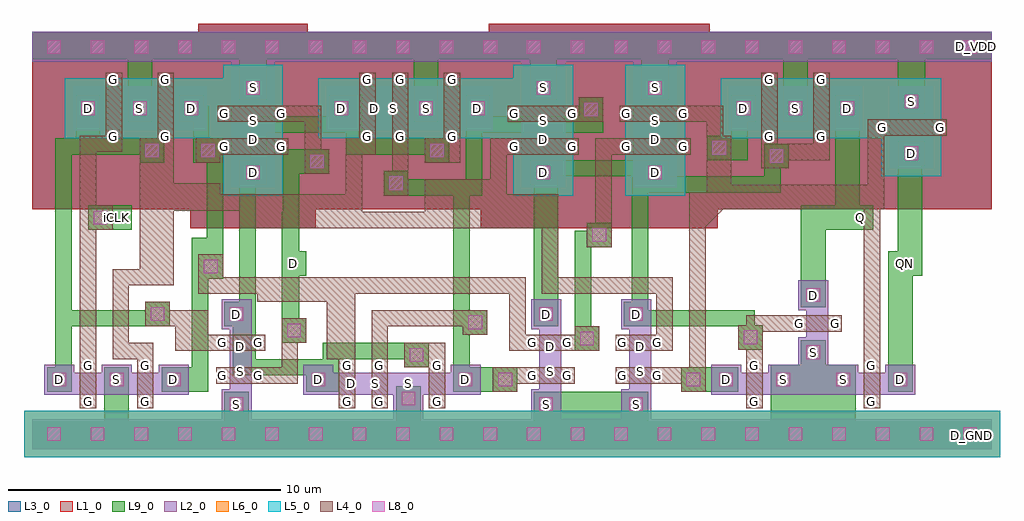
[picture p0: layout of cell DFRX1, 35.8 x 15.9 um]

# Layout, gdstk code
import gdstk
lib = gdstk.Library(unit=1e-6, precision=1e-09)
def R(c, l, rs):  # rectangles x0, y0, x1, y1
    for r in rs: c.add(gdstk.rectangle(r[:2], r[2:], *l))
def A(c, l, x, y, w, h, nx, ny, dx, dy):  # array of equal rectangles
    R(c, l, [(x+i*dx, y+j*dy, x+i*dx+w, y+j*dy+h) for i in range(nx) for j in range(ny)])
def P(c, l, *ps):  # polygons
    for p in ps: c.add(gdstk.Polygon(p, *l))
L1_0 = (1, 0)
L2_0 = (2, 0)
L3_0 = (3, 0)
L4_0 = (4, 0)
L5_0 = (5, 0)
L6_0 = (6, 0)
L8_0 = (8, 0)
L9_0 = (9, 0)

dfrx1 = lib.new_cell('DFRX1')
A(dfrx1, L1_0, 0, 8.8, 1.6, 6.5, 22, 1, 1.6, 0)
R(dfrx1, L1_0, [(5.8,8.1,10.4,14.1), (16.45,8.1,21.05,14.1), (20.55,8.1,25.15,14.1), (29.95,8.8,34.55,14.8), (5.8,9.3,10.4,15.3), (16.45,9.3,21.05,15.3), (20.55,9.3,25.15,15.3), (0,10.2,6,14.8), (1.9,10.2,7.9,14.8), (9.3,10.2,15.3,14.8), (10.5,10.2,16.5,14.8), (12.4,10.2,18.4,14.8), (24.05,10.2,30.05,14.8), (25.95,10.2,31.95,14.8), (6.1,15.3,10.1,15.6), (16.75,15.3,20.75,15.6), (20.75,15.3,24.85,15.6)])
A(dfrx1, L2_0, 0, 0, 1.6, 1.1, 22, 2, 1.6, 14.2)
R(dfrx1, L2_0, [(6.95,1.1,8.05,2.2), (13.25,1.1,14.35,2.8), (18.3,1.1,19.4,2.2), (21.6,1.1,22.7,2.2), (13.25,1.3,14.35,2.4), (0.45,2,1.55,3.1), (1.55,2,2.55,2.8), (2.55,2,3.65,3.1), (2.55,2,3.65,3.1), (3.65,2,4.65,2.8), (4.65,2,5.75,3.1), (9.95,2,11.05,3.1), (11.05,2,12.05,2.8), (11.15,2,12.25,2.8), (12.05,2,13.15,2.8), (12.25,2,13.25,2.8), (13.25,2,14.35,2.8), (13.25,2,14.35,2.8), (14.35,2,15.35,2.8), (15.35,2,16.45,3.1), (24.9,2,26,3.1), (26,2,27,2.8), (27,2,28.1,3.1), (28.05,2,29.2,3), (29.2,2,30.3,3.1), (30.3,2,31.3,2.8), (31.3,2,32.4,3.1), (7.25,2.2,8.05,3.2), (18.6,2.2,19.4,3.2), (21.9,2.2,22.7,3.2), (7.25,2.3,8.05,3.4), (18.6,2.3,19.4,3.4), (21.9,2.3,22.7,3.4), (28.1,3,29.2,4.1), (7.25,3.2,8.05,4.3), (18.6,3.2,19.4,4.3), (21.9,3.2,22.7,4.3), (7.25,3.4,8.05,4.4), (18.6,3.4,19.4,4.4), (21.9,3.4,22.7,4.4), (28.4,4.1,29.2,5.1), (6.95,4.4,8.05,5.5), (18.3,4.4,19.4,5.5), (21.6,4.4,22.7,5.5), (28.1,5.1,29.2,6.2), (7.3,9.6,8.9,10.7), (17.95,9.6,19.55,10.7), (22.05,9.6,23.65,10.7), (31.45,10.3,33.05,11.4), (7.3,10.7,8.9,11.5), (17.95,10.7,19.55,11.5), (22.05,10.7,23.65,11.5), (7.3,10.8,8.9,11.9), (17.95,10.8,19.55,11.9), (22.05,10.8,23.65,11.9), (31.45,11.4,33.05,12.2), (7.3,11.5,8.9,12.6), (17.95,11.5,19.55,12.6), (22.05,11.5,23.65,12.6), (1.5,11.7,2.6,13.3), (2.6,11.7,3.4,13.3), (3.4,11.7,4.5,13.3), (3.4,11.7,4.5,13.3), (4.5,11.7,5.3,13.3), (5.3,11.7,6.4,13.3), (10.8,11.7,11.9,13.3), (11.9,11.7,12.7,13.3), (12,11.7,13.1,13.3), (12.7,11.7,13.8,13.3), (13.1,11.7,13.9,13.3), (13.9,11.7,15,13.3), (13.9,11.7,15,13.3), (15,11.7,15.8,13.3), (15.8,11.7,16.9,13.3), (25.55,11.7,26.65,13.3), (26.65,11.7,27.45,13.3), (27.45,11.7,28.55,13.3), (27.45,11.7,28.55,13.3), (28.55,11.7,29.35,13.3), (29.35,11.7,30.45,13.3), (7.3,11.9,8.9,12.7), (17.95,11.9,19.55,12.7), (22.05,11.9,23.65,12.7), (31.45,12.2,33.05,13.3), (7.3,12.7,8.9,13.8), (17.95,12.7,19.55,13.8), (22.05,12.7,23.65,13.8), (7.3,13.8,8.9,14.2), (17.95,13.8,19.55,14.2), (22.05,13.8,23.65,14.2)])
A(dfrx1, L3_0, 0, 8.8, 1.6, 6.5, 22, 1, 1.6, 0)
R(dfrx1, L3_0, [(5.8,8.1,10.4,14.1), (16.45,8.1,21.05,14.1), (20.55,8.1,25.15,14.1), (29.95,8.8,34.55,14.8), (5.8,9.3,10.4,15.3), (16.45,9.3,21.05,15.3), (20.55,9.3,25.15,15.3), (0,10.2,6,14.8), (1.9,10.2,7.9,14.8), (9.3,10.2,15.3,14.8), (10.5,10.2,16.5,14.8), (12.4,10.2,18.4,14.8), (24.05,10.2,30.05,14.8), (25.95,10.2,31.95,14.8), (6.1,15.3,10.1,15.6), (16.75,15.3,20.75,15.6), (20.75,15.3,24.85,15.6)])
R(dfrx1, L4_0, [(1.75,1.5,2.35,2), (1.75,1.5,2.35,3.3), (3.85,1.5,4.45,2), (3.85,1.5,4.45,3.3), (11.25,1.5,11.85,2), (11.25,1.5,11.85,3.3), (12.45,1.5,13.05,2), (12.45,1.5,13.05,3.3), (14.55,1.5,15.15,2), (14.55,1.5,15.15,3.3), (26.2,1.5,26.8,2), (26.2,1.5,26.8,3.3), (30.5,1.5,31.1,2), (30.5,1.5,31.1,3.3), (16.9,2.1,17.8,3), (23.8,2.1,24.7,3), (6.75,2.4,7.25,3), (6.75,2.4,8.55,3), (8.05,2.4,8.55,3), (17.65,2.4,18.35,3), (18.1,2.4,18.6,3), (18.1,2.4,19.9,3), (19.4,2.4,19.9,3), (21.4,2.4,21.9,3), (21.4,2.4,23.2,3), (22.7,2.4,23.2,3), (14.55,2.7,15.15,3.9), (1.75,2.8,2.35,3.3), (3.85,2.8,4.45,3.3), (11.25,2.8,11.85,3.3), (12.45,2.8,13.05,3.3), (14.55,2.8,15.15,3.3), (26.2,2.8,26.8,3.3), (30.5,2.8,31.1,3.3), (13.65,3,14.55,3.9), (30.5,3.3,31.1,9.1), (6.75,3.6,7.25,4.2), (6.75,3.6,8.55,4.2), (8.05,3.6,8.55,4.2), (18.1,3.6,18.6,4.2), (18.1,3.6,19.9,4.2), (19.4,3.6,19.9,4.2), (19.9,3.6,20.8,4.5), (21.4,3.6,21.9,4.2), (21.4,3.6,23.2,4.2), (22.7,3.6,23.2,4.2), (25.9,3.65,26.8,4.55), (9.15,3.9,10.05,4.8), (11.4,3.9,11.85,5.7), (5.85,4.2,6.45,5.1), (15.8,4.2,16.7,5.1), (27.9,4.3,28.4,4.9), (27.9,4.3,29.7,4.9), (29.2,4.3,29.7,4.9), (4.15,4.5,5.05,5.4), (8.85,6,10.8,6.3), (10.8,6,11,6.3), (6.1,6.25,7,7.15), (3.95,6.6,4.6,10.5), (20.35,7.4,21.25,8.3), (2.05,8.05,2.95,8.95), (7.6,8.1,11.5,8.75), (15,8.1,18.7,8.75), (5.2,8.75,5.4,9.75), (15,8.75,15.2,9.3), (25.35,8.8,31.25,9.1), (12.9,9.3,13.8,10.2), (5.4,9.35,6.9,9.75), (25.35,9.7,25.65,10.6), (10,10.1,10.9,11), (30.65,10.15,31.25,12.1), (13.2,10.2,13.8,11.2), (26.75,10.3,26.85,11.2), (26.85,10.3,27.75,11.2), (3.95,10.5,4.85,11.4), (6,10.5,6.9,11.4), (14.4,10.5,15.3,11.4), (15.3,10.5,15.7,11.2), (24.75,10.6,25.65,11.5), (27.75,10.6,29.25,11.2), (6.8,10.8,9.4,11.4), (6.8,10.8,7.3,11.4), (8.9,10.8,9.4,11.4), (17.35,10.8,17.45,11.4), (17.45,10.8,20.05,11.4), (17.45,10.8,17.95,11.4), (19.55,10.8,20.05,11.4), (21.55,10.8,24.15,11.4), (21.55,10.8,22.05,11.4), (23.65,10.8,24.15,11.4), (2.7,11.2,3.3,13.8), (2.7,11.2,3.3,11.7), (4.6,11.2,5.2,13.8), (4.6,11.2,5.2,11.7), (12,11.2,12.6,13.8), (12,11.2,12.6,11.7), (13.2,11.2,13.8,13.8), (13.2,11.2,13.8,11.7), (15.1,11.2,15.7,13.8), (15.1,11.2,15.7,11.7), (26.75,11.2,27.35,13.8), (26.75,11.2,27.35,11.7), (28.65,11.2,29.25,13.8), (28.65,11.2,29.25,11.7), (30.95,11.5,33.55,12.1), (30.95,11.5,31.45,12.1), (33.05,11.5,33.55,12.1), (6.8,12,9.4,12.6), (6.8,12,7.3,12.6), (8.9,12,9.4,12.6), (17.45,12,20.05,12.6), (17.45,12,17.95,12.6), (19.55,12,20.05,12.6), (20.05,12,20.95,12.9), (21.55,12,24.15,12.6), (21.55,12,22.05,12.6), (23.65,12,24.15,12.6), (2.7,13.3,3.3,13.8), (4.6,13.3,5.2,13.8), (12,13.3,12.6,13.8), (13.2,13.3,13.8,13.8), (15.1,13.3,15.7,13.8), (26.75,13.3,27.35,13.8), (28.65,13.3,29.25,13.8)])
P(dfrx1, L4_0, [(11.5,8.1),(15,8.1),(15,9.3),(17.4,9.3),(17.4,11.4),(16.8,11.4),(16.8,9.9),(14.4,9.9),(14.4,8.7),(12.1,8.7),(12.1,8.75),(11.5,8.75)],
  [(25.35,9.1),(31.25,9.1),(31.25,10.15),(30.65,10.15),(30.65,9.7),(25.35,9.7)],
  [(2.95,3.3),(4.45,3.3),(4.45,3.9),(3.55,3.9),(3.55,6),(5.2,6),(5.2,11.3),(4.6,11.3),(4.6,6.6),(2.95,6.6)],
  [(4.35,4.5),(5.25,4.5),(5.25,3.6),(6.75,3.6),(6.75,4.2),(5.85,4.2),(5.85,5.1),(4.35,5.1)],
  [(10.8,3.3),(11.85,3.3),(11.85,3.9),(11.4,3.9),(11.4,5.4),(10.8,5.4)],
  [(20.65,5.7),(22.9,5.7),(22.9,3.6),(23.5,3.6),(23.5,6.3),(20.65,6.3)],
  [(26.2,3.3),(26.8,3.3),(26.8,4.3),(27.9,4.3),(27.9,4.9),(26.2,4.9)],
  [(6.1,5.7),(8.25,5.7),(8.25,5.4),(11.4,5.4),(11.4,6),(8.85,6),(8.85,6.3),(6.1,6.3)],
  [(12.45,2.7),(13.05,2.7),(13.05,4.5),(16.35,4.5),(16.35,5.1),(12.45,5.1)],
  [(5.4,8.75),(12.1,8.75),(12.1,10.8),(12.6,10.8),(12.6,11.4),(11.5,11.4),(11.5,9.35),(5.4,9.35)],
  [(20.65,8.3),(21.25,8.3),(21.25,10.8),(21.55,10.8),(21.55,11.4),(20.65,11.4)],
  [(15.2,8.75),(18.7,8.75),(18.7,5.7),(20.65,5.7),(20.65,6.3),(19.3,6.3),(19.3,9.35),(15.2,9.35)],
  [(9.4,12),(10,12),(10,10.4),(10.6,10.4),(10.6,12.6),(9.4,12.6)],
  [(1.75,3.3),(2.35,3.3),(2.35,10.9),(3.3,10.9),(3.3,11.5),(1.75,11.5)],
  [(11,5.7),(17.5,5.7),(17.5,3.6),(18.1,3.6),(18.1,6.3),(11,6.3)],
  [(23.2,2.4),(24.7,2.4),(24.7,8.8),(25.35,8.8),(25.35,12.6),(24.15,12.6),(24.15,12),(24.75,12),(24.75,9.4),(24.1,9.4),(24.1,3),(23.2,3)],
  [(8.55,2.4),(9.75,2.4),(9.75,4.5),(9.15,4.5),(9.15,3),(8.55,3)],
  [(24.7,8.8),(24.7,8.15),(25.35,8.8)])
A(dfrx1, L5_0, 1.6, -0.3, 1.6, 1.7, 20, 1, 1.6, 0)
R(dfrx1, L5_0, [(-0.3,-0.3,1.6,1.4), (33.6,-0.3,35.5,1.4), (7,9.3,9.2,12.9), (17.65,9.3,19.85,12.9), (21.75,9.3,23.95,12.9), (31.15,10,33.35,13.6), (7,10.5,9.2,14.1), (17.65,10.5,19.85,14.1), (21.75,10.5,23.95,14.1), (1.2,11.4,4.8,13.6), (3.1,11.4,6.7,13.6), (6.7,11.4,7,13.6), (10.5,11.4,14.1,13.6), (11.7,11.4,15.3,13.6), (13.6,11.4,17.2,13.6), (17.2,11.4,17.65,13.6), (25.25,11.4,28.85,13.6), (27.15,11.4,30.75,13.6), (30.75,11.4,31.2,13.6)])
A(dfrx1, L6_0, 1.6, -0.3, 1.6, 1.7, 20, 1, 1.6, 0)
R(dfrx1, L6_0, [(-0.3,-0.3,1.6,1.4), (33.6,-0.3,35.5,1.4), (7,9.3,9.2,12.9), (17.65,9.3,19.85,12.9), (21.75,9.3,23.95,12.9), (31.15,10,33.35,13.6), (7,10.5,9.2,14.1), (17.65,10.5,19.85,14.1), (21.75,10.5,23.95,14.1), (1.2,11.4,4.8,13.6), (3.1,11.4,6.7,13.6), (6.7,11.4,7,13.6), (10.5,11.4,14.1,13.6), (11.7,11.4,15.3,13.6), (13.6,11.4,17.2,13.6), (17.2,11.4,17.65,13.6), (25.25,11.4,28.85,13.6), (27.15,11.4,30.75,13.6), (30.75,11.4,31.2,13.6)])
A(dfrx1, L8_0, 0.55, 0.3, 0.5, 0.5, 22, 2, 1.6, 14.2)
R(dfrx1, L8_0, [(7.25,1.4,7.75,1.9), (18.6,1.4,19.1,1.9), (21.9,1.4,22.4,1.9), (13.55,1.6,14.05,2.1), (0.75,2.3,1.25,2.8), (2.85,2.3,3.35,2.8), (2.85,2.3,3.35,2.8), (4.95,2.3,5.45,2.8), (10.25,2.3,10.75,2.8), (15.65,2.3,16.15,2.8), (17.1,2.3,17.6,2.8), (24,2.3,24.5,2.8), (25.2,2.3,25.7,2.8), (27.3,2.3,27.8,2.8), (29.5,2.3,30,2.8), (31.6,2.3,32.1,2.8), (13.85,3.2,14.35,3.7), (28.4,3.3,28.9,3.8), (20.1,3.8,20.6,4.3), (26.1,3.85,26.6,4.35), (9.35,4.1,9.85,4.6), (16,4.4,16.5,4.9), (4.35,4.7,4.85,5.2), (7.25,4.7,7.75,5.2), (18.6,4.7,19.1,5.2), (21.9,4.7,22.4,5.2), (28.4,5.4,28.9,5.9), (6.3,6.45,6.8,6.95), (20.55,7.6,21.05,8.1), (2.25,8.25,2.75,8.75), (13.1,9.5,13.6,10), (7.85,9.9,8.35,10.4), (18.5,9.9,19,10.4), (22.6,9.9,23.1,10.4), (10.2,10.3,10.7,10.8), (27.05,10.5,27.55,11), (32,10.6,32.5,11.1), (4.15,10.7,4.65,11.2), (6.2,10.7,6.7,11.2), (14.6,10.7,15.1,11.2), (24.95,10.8,25.45,11.3), (20.25,12.2,20.75,12.7), (1.8,12.25,2.3,12.75), (3.7,12.25,4.2,12.75), (3.7,12.25,4.2,12.75), (5.6,12.25,6.1,12.75), (11.1,12.25,11.6,12.75), (14.2,12.25,14.7,12.75), (14.2,12.25,14.7,12.75), (16.1,12.25,16.6,12.75), (25.85,12.25,26.35,12.75), (27.75,12.25,28.25,12.75), (27.75,12.25,28.25,12.75), (29.65,12.25,30.15,12.75), (32,12.5,32.5,13), (7.85,13,8.35,13.5), (18.5,13,19,13.5), (22.6,13,23.1,13.5)])
A(dfrx1, L9_0, 0, 0, 1.6, 1, 22, 2, 1.6, 14.3)
R(dfrx1, L9_0, [(34,0.05,34.9,0.95), (2.65,0.95,3.55,2.1), (21.7,0.95,22.6,1.2), (7.05,1,7.95,1.2), (13.35,1,14.25,1.4), (18.4,1,19.3,1.2), (19.3,1,21.7,2.1), (27.1,1,30.2,3.1), (7.05,1.2,7.95,2.1), (18.4,1.2,19.3,2.1), (21.7,1.2,22.6,2.1), (13.35,1.4,14.25,2.3), (0.55,2.1,1.45,3), (2.65,2.1,3.55,3), (2.65,2.1,3.55,3), (4.75,2.1,5.65,3), (10.05,2.1,10.95,3), (15.45,2.1,16.35,3), (15.95,2.1,17.75,2.7), (16.9,2.1,17.8,3), (23.8,2.1,24.7,3), (24.7,2.1,25,3), (25,2.1,25.9,3), (27.1,2.1,28,3), (29.3,2.1,30.2,3), (31.4,2.1,32.3,3), (15.45,2.4,16.05,9.9), (5.65,2.65,5.85,3), (15.8,2.7,16.95,3), (13.65,3,14.55,3.9), (28.2,3.1,29.1,4), (7.95,3.3,8.2,4.8), (11.5,3.3,14.25,3.9), (19.9,3.6,20.8,4.5), (25.9,3.65,26.8,4.55), (9.15,3.9,10.05,4.8), (15.8,4.2,16.7,5.1), (0.85,4.5,4.75,5.1), (4.15,4.5,5.05,5.4), (7.05,4.5,7.95,5.4), (18.4,4.5,19.3,5.4), (21.7,4.5,22.6,5.4), (9.75,4.8,9.8,8.1), (28.2,5.2,29.1,6.1), (18.4,5.4,19.3,10.05), (6.1,6.25,7,7.15), (9.15,6.35,10.05,7.25), (31.55,6.35,32.45,7.25), (31.75,6.35,32.65,11.3), (20.35,7.4,21.25,8.3), (2.05,8.05,2.95,8.95), (2.75,8.05,3.65,8.95), (29.45,8.05,30.35,12.9), (29.45,8.05,30.85,8.95), (29.95,8.05,30.85,8.95), (12.9,9.3,13.8,10.2), (22.6,9.4,22.75,9.7), (7.6,9.7,8.6,10.6), (18.25,9.7,19.25,10.6), (22.35,9.7,23.35,10.6), (18.65,10,22.95,10.6), (10,10.1,10.9,11), (26.85,10.3,27.75,11.2), (31.75,10.4,32.75,11.3), (3.95,10.5,4.85,11.4), (5.9,10.5,7,11.4), (6,10.5,6.9,11.4), (14.4,10.5,15.3,11.4), (24.75,10.6,25.65,11.5), (25.65,10.6,26.25,12.6), (9.2,10.7,10,11), (1.9,10.8,2.5,12.6), (1.9,10.8,4.55,11.4), (1.6,11.4,1.9,12), (16.45,11.6,20.95,12.2), (1.6,12,2.5,13), (3.5,12,4.4,13), (3.5,12,4.4,13), (5.4,12,6.3,13), (10.9,12,11.8,13), (14,12,14.9,13), (14,12,14.9,13), (15.9,12,16.8,13), (20.05,12,20.95,12.9), (25.65,12,26.55,13), (27.55,12,28.45,13), (27.55,12,28.45,13), (29.45,12,30.35,13), (31.75,12.3,32.75,13.2), (7.6,12.8,8.6,13.7), (18.25,12.8,19.25,13.7), (22.35,12.8,23.35,13.7), (3.5,13,4.4,14.3), (14,13,14.9,14.3), (27.55,13,28.45,14.3), (31.75,13.2,32.75,14.3), (7.6,13.7,8.6,14.95), (18.25,13.7,19.25,14.9), (22.35,13.7,23.35,14.8), (34.2,14.3,35.1,15.2)])
P(dfrx1, L9_0, [(13.2,9.3),(16.5,9.3),(16.5,12.6),(15.9,12.6),(15.9,9.9),(13.2,9.9)],
  [(9.15,4.2),(9.75,4.2),(9.75,8.1),(9.8,8.1),(9.8,10.1),(10.6,10.1),(10.6,10.7),(9.2,10.7),(9.2,8.7),(9.15,8.7)],
  [(7.25,4.8),(8.2,4.8),(8.2,10.3),(7.6,10.3),(7.6,5.4),(7.25,5.4)],
  [(0.85,2.4),(1.45,2.4),(1.45,10.8),(2.5,10.8),(2.5,11.4),(0.85,11.4)],
  [(22,4.5),(25.9,4.5),(25.9,3.9),(26.5,3.9),(26.5,5.1),(22,5.1)],
  [(7.35,2.7),(10.95,2.7),(10.95,3.3),(7.95,3.3),(7.95,4.5),(7.35,4.5)],
  [(8,10.6),(8.6,10.6),(8.6,11.6),(11.8,11.6),(11.8,12.2),(8,12.2)],
  [(5.9,10.8),(6.6,10.8),(6.6,11.4),(6.5,11.4),(6.5,12.6),(5.9,12.6)],
  [(19.9,3.9),(20.5,3.9),(20.5,7.4),(20.95,7.4),(20.95,8),(19.9,8)],
  [(11.5,10.8),(14.4,10.8),(14.4,11.4),(12.1,11.4),(12.1,13),(11.5,13)],
  [(10.65,2.1),(11.25,2.1),(11.25,3.3),(11.5,3.3),(11.5,3.9),(10.65,3.9)],
  [(22.75,9.4),(27.45,9.4),(27.45,10.9),(26.85,10.9),(26.85,10),(23.35,10),(23.35,10.3),(22.75,10.3)],
  [(5.25,2.1),(6.45,2.1),(6.45,7.15),(7,7.15),(7,11.1),(6.3,11.1),(6.3,10.5),(6.4,10.5),(6.4,7.75),(5.85,7.75),(5.85,2.7),(5.25,2.7)],
  [(22,4.8),(22.6,4.8),(22.6,9.7),(22.95,9.7),(22.95,10.3),(22,10.3)],
  [(31.4,2.1),(32.3,2.1),(32.3,6.35),(32.45,6.35),(32.45,7.25),(31.4,7.25)],
  [(28.2,5.2),(29.1,5.2),(29.1,8.05),(30.35,8.05),(30.35,8.95),(28.2,8.95)])
dfrx1.add(gdstk.Label('G', (31.202,11.8), layer=4, texttype=0))
dfrx1.add(gdstk.Label('G', (33.302,11.8), layer=4, texttype=0))
dfrx1.add(gdstk.Label('S', (32.251,12.751), layer=9, texttype=0))
dfrx1.add(gdstk.Label('D', (32.251,10.851), layer=9, texttype=0))
dfrx1.add(gdstk.Label('G', (13.5,11.452), layer=4, texttype=0))
dfrx1.add(gdstk.Label('G', (13.5,13.552), layer=4, texttype=0))
dfrx1.add(gdstk.Label('S', (14.451,12.501), layer=9, texttype=0))
dfrx1.add(gdstk.Label('D', (12.551,12.501), layer=2, texttype=0))
dfrx1.add(gdstk.Label('G', (4.9,11.452), layer=4, texttype=0))
dfrx1.add(gdstk.Label('G', (4.9,13.552), layer=4, texttype=0))
dfrx1.add(gdstk.Label('S', (3.949,12.501), layer=9, texttype=0))
dfrx1.add(gdstk.Label('D', (5.849,12.501), layer=9, texttype=0))
dfrx1.add(gdstk.Label('G', (7.052,11.1), layer=4, texttype=0))
dfrx1.add(gdstk.Label('G', (9.152,11.1), layer=4, texttype=0))
dfrx1.add(gdstk.Label('S', (8.101,12.051), layer=2, texttype=0))
dfrx1.add(gdstk.Label('D', (8.101,10.151), layer=9, texttype=0))
dfrx1.add(gdstk.Label('G', (27.05,11.452), layer=4, texttype=0))
dfrx1.add(gdstk.Label('G', (27.05,13.552), layer=4, texttype=0))
dfrx1.add(gdstk.Label('S', (28.001,12.501), layer=9, texttype=0))
dfrx1.add(gdstk.Label('D', (26.101,12.501), layer=9, texttype=0))
dfrx1.add(gdstk.Label('D', (7.649,3.749), layer=2, texttype=0))
dfrx1.add(gdstk.Label('G', (8.298,2.7), layer=4, texttype=0))
dfrx1.add(gdstk.Label('G', (6.998,2.7), layer=4, texttype=0))
dfrx1.add(gdstk.Label('S', (7.499,1.649), layer=9, texttype=0))
dfrx1.add(gdstk.Label('G', (30.8,1.752), layer=4, texttype=0))
dfrx1.add(gdstk.Label('G', (30.8,3.052), layer=4, texttype=0))
dfrx1.add(gdstk.Label('S', (29.749,2.551), layer=9, texttype=0))
dfrx1.add(gdstk.Label('D', (31.849,2.551), layer=9, texttype=0))
dfrx1.add(gdstk.Label('G', (15.4,11.452), layer=4, texttype=0))
dfrx1.add(gdstk.Label('G', (15.4,13.552), layer=4, texttype=0))
dfrx1.add(gdstk.Label('S', (14.449,12.501), layer=9, texttype=0))
dfrx1.add(gdstk.Label('D', (16.349,12.501), layer=9, texttype=0))
dfrx1.add(gdstk.Label('G', (12.3,11.452), layer=4, texttype=0))
dfrx1.add(gdstk.Label('G', (12.3,13.552), layer=4, texttype=0))
dfrx1.add(gdstk.Label('S', (13.251,12.501), layer=2, texttype=0))
dfrx1.add(gdstk.Label('D', (11.351,12.501), layer=9, texttype=0))
dfrx1.add(gdstk.Label('G', (3,11.452), layer=4, texttype=0))
dfrx1.add(gdstk.Label('G', (3,13.552), layer=4, texttype=0))
dfrx1.add(gdstk.Label('S', (3.951,12.501), layer=9, texttype=0))
dfrx1.add(gdstk.Label('D', (2.051,12.501), layer=9, texttype=0))
dfrx1.add(gdstk.Label('G', (21.802,12.3), layer=4, texttype=0))
dfrx1.add(gdstk.Label('G', (23.902,12.3), layer=4, texttype=0))
dfrx1.add(gdstk.Label('S', (22.851,13.251), layer=9, texttype=0))
dfrx1.add(gdstk.Label('D', (22.851,11.351), layer=2, texttype=0))
dfrx1.add(gdstk.Label('G', (14.85,1.752), layer=4, texttype=0))
dfrx1.add(gdstk.Label('G', (14.85,3.052), layer=4, texttype=0))
dfrx1.add(gdstk.Label('S', (13.799,2.401), layer=2, texttype=0))
dfrx1.add(gdstk.Label('D', (15.899,2.551), layer=9, texttype=0))
dfrx1.add(gdstk.Label('G', (11.55,1.752), layer=4, texttype=0))
dfrx1.add(gdstk.Label('G', (11.55,3.052), layer=4, texttype=0))
dfrx1.add(gdstk.Label('S', (12.601,2.401), layer=2, texttype=0))
dfrx1.add(gdstk.Label('D', (10.501,2.551), layer=9, texttype=0))
dfrx1.add(gdstk.Label('D', (22.299,3.749), layer=2, texttype=0))
dfrx1.add(gdstk.Label('G', (22.948,2.7), layer=4, texttype=0))
dfrx1.add(gdstk.Label('G', (21.648,2.7), layer=4, texttype=0))
dfrx1.add(gdstk.Label('S', (22.149,1.649), layer=9, texttype=0))
dfrx1.add(gdstk.Label('G', (29.448,4.6), layer=4, texttype=0))
dfrx1.add(gdstk.Label('G', (28.148,4.6), layer=4, texttype=0))
dfrx1.add(gdstk.Label('S', (28.649,3.549), layer=9, texttype=0))
dfrx1.add(gdstk.Label('D', (28.649,5.649), layer=9, texttype=0))
dfrx1.add(gdstk.Label('D', (11.701,2.401), layer=2, texttype=0))
dfrx1.add(gdstk.Label('G', (12.75,1.752), layer=4, texttype=0))
dfrx1.add(gdstk.Label('G', (12.75,3.052), layer=4, texttype=0))
dfrx1.add(gdstk.Label('S', (13.801,2.401), layer=2, texttype=0))
dfrx1.add(gdstk.Label('G', (8.298,3.9), layer=4, texttype=0))
dfrx1.add(gdstk.Label('G', (6.998,3.9), layer=4, texttype=0))
dfrx1.add(gdstk.Label('S', (7.649,2.849), layer=2, texttype=0))
dfrx1.add(gdstk.Label('D', (7.499,4.949), layer=9, texttype=0))
dfrx1.add(gdstk.Label('G', (17.702,12.3), layer=4, texttype=0))
dfrx1.add(gdstk.Label('G', (19.802,12.3), layer=4, texttype=0))
dfrx1.add(gdstk.Label('S', (18.751,13.251), layer=9, texttype=0))
dfrx1.add(gdstk.Label('D', (18.751,11.351), layer=2, texttype=0))
dfrx1.add(gdstk.Label('G', (28.95,11.452), layer=4, texttype=0))
dfrx1.add(gdstk.Label('G', (28.95,13.552), layer=4, texttype=0))
dfrx1.add(gdstk.Label('S', (27.999,12.501), layer=9, texttype=0))
dfrx1.add(gdstk.Label('D', (29.899,12.501), layer=9, texttype=0))
dfrx1.add(gdstk.Label('D', (18.999,3.749), layer=2, texttype=0))
dfrx1.add(gdstk.Label('G', (19.648,2.7), layer=4, texttype=0))
dfrx1.add(gdstk.Label('G', (18.348,2.7), layer=4, texttype=0))
dfrx1.add(gdstk.Label('S', (18.849,1.649), layer=9, texttype=0))
dfrx1.add(gdstk.Label('G', (19.648,3.9), layer=4, texttype=0))
dfrx1.add(gdstk.Label('G', (18.348,3.9), layer=4, texttype=0))
dfrx1.add(gdstk.Label('S', (18.999,2.849), layer=2, texttype=0))
dfrx1.add(gdstk.Label('D', (18.849,4.949), layer=9, texttype=0))
dfrx1.add(gdstk.Label('G', (7.052,12.3), layer=4, texttype=0))
dfrx1.add(gdstk.Label('G', (9.152,12.3), layer=4, texttype=0))
dfrx1.add(gdstk.Label('S', (8.101,13.251), layer=9, texttype=0))
dfrx1.add(gdstk.Label('D', (8.101,11.351), layer=2, texttype=0))
dfrx1.add(gdstk.Label('G', (22.948,3.9), layer=4, texttype=0))
dfrx1.add(gdstk.Label('G', (21.648,3.9), layer=4, texttype=0))
dfrx1.add(gdstk.Label('S', (22.299,2.849), layer=2, texttype=0))
dfrx1.add(gdstk.Label('D', (22.149,4.949), layer=9, texttype=0))
dfrx1.add(gdstk.Label('G', (4.15,1.752), layer=4, texttype=0))
dfrx1.add(gdstk.Label('G', (4.15,3.052), layer=4, texttype=0))
dfrx1.add(gdstk.Label('S', (3.099,2.551), layer=9, texttype=0))
dfrx1.add(gdstk.Label('D', (5.199,2.551), layer=9, texttype=0))
dfrx1.add(gdstk.Label('G', (17.702,11.1), layer=4, texttype=0))
dfrx1.add(gdstk.Label('G', (19.802,11.1), layer=4, texttype=0))
dfrx1.add(gdstk.Label('S', (18.751,12.051), layer=2, texttype=0))
dfrx1.add(gdstk.Label('D', (18.751,10.151), layer=9, texttype=0))
dfrx1.add(gdstk.Label('G', (26.5,1.752), layer=4, texttype=0))
dfrx1.add(gdstk.Label('G', (26.5,3.052), layer=4, texttype=0))
dfrx1.add(gdstk.Label('S', (27.551,2.551), layer=9, texttype=0))
dfrx1.add(gdstk.Label('D', (25.451,2.551), layer=9, texttype=0))
dfrx1.add(gdstk.Label('G', (21.802,11.1), layer=4, texttype=0))
dfrx1.add(gdstk.Label('G', (23.902,11.1), layer=4, texttype=0))
dfrx1.add(gdstk.Label('S', (22.851,12.051), layer=2, texttype=0))
dfrx1.add(gdstk.Label('D', (22.851,10.151), layer=9, texttype=0))
dfrx1.add(gdstk.Label('G', (2.05,1.752), layer=4, texttype=0))
dfrx1.add(gdstk.Label('G', (2.05,3.052), layer=4, texttype=0))
dfrx1.add(gdstk.Label('S', (3.101,2.551), layer=9, texttype=0))
dfrx1.add(gdstk.Label('D', (1.001,2.551), layer=9, texttype=0))
dfrx1.add(gdstk.Label('D_VDD', (34.65,14.75), layer=50, texttype=0))
dfrx1.add(gdstk.Label('D_GND', (34.45,0.5), layer=50, texttype=0))
dfrx1.add(gdstk.Label('iCLK', (3.1,8.5), layer=50, texttype=0))
dfrx1.add(gdstk.Label('D', (9.6,6.8), layer=50, texttype=0))
dfrx1.add(gdstk.Label('Q', (30.4,8.5), layer=50, texttype=0))
dfrx1.add(gdstk.Label('QN', (32,6.8), layer=50, texttype=0))

lib.write_gds('DFRX1.gds')
